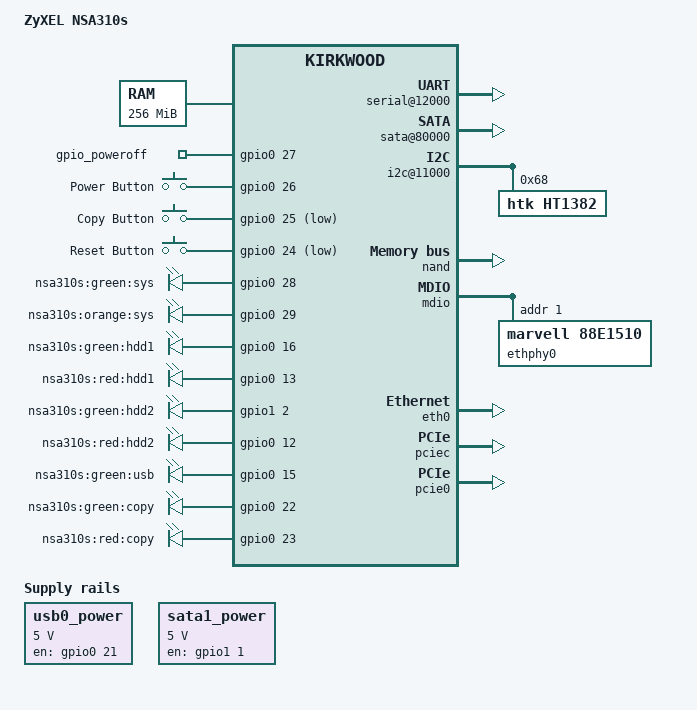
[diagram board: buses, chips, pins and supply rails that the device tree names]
/* 
 * Based on Discussion at https://forum.openwrt.org/t/serial-install-problems-on-nsa310/37306
 * Copyright (c) 2020, bobafetthotmail/Alberto Bursi <alberto.bursi@outlook.it>
 *
 * Based on https://forum.doozan.com/read.php?2,12096
 * Copyright (c) 2015-2016, bodhi <mibodhi@gmail.com>
 *
 * Based on 
 * Copyright (c) 2014, Adam Baker <linux@baker-net.org.uk>
 *
 * This program is free software; you can redistribute it and/or
 * modify it under the terms of the GNU General Public License
 * as published by the Free Software Foundation; either version
 * 2 of the License, or (at your option) any later version.
 *
 * Based upon the board setup file created by Peter Schildmann 
 */

/dts-v1/;

#include "kirkwood.dtsi"
#include "kirkwood-6281.dtsi"

/ {
	model = "ZyXEL NSA310s";
	compatible = "zyxel,nsa310s", "zyxel,nsa310", "marvell,kirkwood-88f6281", "marvell,kirkwood";

	memory {
		device_type = "memory";
		reg = <0x00000000 0x10000000>;
	};

	chosen {
		bootargs = "console=ttyS0,115200";
		stdout-path = &uart0;
	};

	ocp@f1000000 {
		pinctrl: pin-controller@10000 {
			pinctrl-names = "default";

			pmx_sata0: pmx-sata0 {
				marvell,pins ; /* NA */
				marvell,function = "sata0";
			};

			pmx_sata1: pmx-sata1 {
				marvell,pins ; /* NA */
				marvell,function = "sata1";
			};

                        pmx_usb_power: pmx-usb-power {
                                marvell,pins = "mpp21"; /* OK */
                                marvell,function = "gpio";
                        };

                        pmx_pwr_off: pmx-pwr-off {
                                marvell,pins = "mpp27"; /* OK */
                                marvell,function = "gpio";
                        };

                        pmx_btn_reset: pmx-btn-reset {
                                marvell,pins = "mpp24"; /* OK */
                                marvell,function = "gpio";
                        };

                        pmx_btn_copy: pmx-btn-copy {
                                marvell,pins = "mpp25"; /* OK */
                                marvell,function = "gpio";
                        };

                        pmx_btn_power: pmx-btn-power {
                                marvell,pins = "mpp26"; /* OK */
                                marvell,function = "gpio";
                        };

			pmx_led_hdd2_green: pmx-led-hdd2-green {
				marvell,pins = "mpp34"; /* OK */
				marvell,function = "gpio";
			};

			pmx_led_hdd2_red: pmx-led-hdd2-red {
				marvell,pins = "mpp12"; /* OK */
				marvell,function = "gpio";
			};

			pmx_led_usb_green: pmx-led-usb-green {
				marvell,pins = "mpp15"; /* OK */
				marvell,function = "gpio";
			};

                        pmx_led_copy_green: pmx-led-copy-green {
                                marvell,pins = "mpp22"; /* OK */
                                marvell,function = "gpio";
                        };

                        pmx_led_copy_red: pmx-led-copy-red {
                                marvell,pins = "mpp23"; /* OK */
                                marvell,function = "gpio";
                        };

			pmx_led_sys_green: pmx-led-sys-green {
				marvell,pins = "mpp28"; /* OK */
				marvell,function = "gpio";
			};

			pmx_led_sys_orange: pmx-led-sys-orange {
				marvell,pins = "mpp29"; /* OK */
				marvell,function = "gpio";
			};

			pmx_led_hdd1_green: pmx-led-hdd1-green {
				marvell,pins = "mpp16"; /* OK */
				marvell,function = "gpio";
			};

			pmx_led_hdd1_red: pmx-led-hdd1-red {
				marvell,pins = "mpp13"; /* OK */
				marvell,function = "gpio";
			};

/*
 			pmx_buzzer: pmx-buzzer {
 				marvell,pins = "mpp20";
 				marvell,function = "gpio";
 			};
*/

			pmx_pwr_sata1: pmx-pwr-sata1 {
				marvell,pins = "mpp33";
				marvell,function = "gpio";
			};
		};

                serial@12000 {
                        status = "ok";
                };

                sata@80000 {
                        status = "okay";
                        nr-ports = <2>;
                };

		rtc@10300 {
			status = "disabled";
		};

		i2c@11000 {
			status = "okay";
			ht1382: rtc@68 {
				compatible = "htk,ht1382";
				reg = <0x68>;
			};
		};
	};

	regulators {
                compatible = "simple-bus";
                #address-cells = <1>;
                #size-cells = <0>;
                pinctrl-names = "default";
		pinctrl-0 = <&pmx_usb_power &pmx_pwr_sata1>;

                usb0_power: regulator@1 {
                        compatible = "regulator-fixed";
                        reg = <1>;
                        regulator-name = "USB Power";
                        regulator-min-microvolt = <5000000>;
                        regulator-max-microvolt = <5000000>;
                        regulator-always-on;
                        regulator-boot-on;
			enable-active-high;
                        gpio = <&gpio0 21 GPIO_ACTIVE_HIGH>;
                };

		sata1_power: regulator@2 {
			compatible = "regulator-fixed";
			reg = <2>;
			regulator-name = "SATA1 Power";
			regulator-min-microvolt = <5000000>;
			regulator-max-microvolt = <5000000>;
			regulator-always-on;
			regulator-boot-on;
			enable-active-high;
			gpio = <&gpio1 1 GPIO_ACTIVE_HIGH>;
		};
	};

        gpio_poweroff {
                compatible = "gpio-poweroff";
                pinctrl-0 = <&pmx_pwr_off>;
                pinctrl-names = "default";
                gpios = <&gpio0 27 GPIO_ACTIVE_HIGH>;
        };

        gpio_keys {
                compatible = "gpio-keys";
                #address-cells = <1>;
                #size-cells = <0>;
                pinctrl-0 = <&pmx_btn_reset &pmx_btn_copy &pmx_btn_power>;
                pinctrl-names = "default";

                button@1 {
                        label = "Power Button";
                        linux,code = <KEY_POWER>;
                        gpios = <&gpio0 26 GPIO_ACTIVE_HIGH>;
                };
                button@2 {
                        label = "Copy Button";
                        linux,code = <KEY_COPY>;
                        gpios = <&gpio0 25 GPIO_ACTIVE_LOW>;
                };
                button@3 {
                        label = "Reset Button";
                        linux,code = <KEY_RESTART>;
                        gpios = <&gpio0 24 GPIO_ACTIVE_LOW>;
                };
        };

	gpio-leds {
		compatible = "gpio-leds";
		pinctrl-0 = <&pmx_led_hdd2_green &pmx_led_hdd2_red
			     &pmx_led_usb_green
			     &pmx_led_sys_green &pmx_led_sys_orange
			     &pmx_led_copy_green &pmx_led_copy_red
			     &pmx_led_hdd1_green &pmx_led_hdd1_red>;
		pinctrl-names = "default";

		green-sys {
			label = "nsa310s:green:sys";
			gpios = <&gpio0 28 GPIO_ACTIVE_HIGH>;
                        linux,default-trigger = "default-on";
		};
		orange-sys {
			label = "nsa310s:orange:sys";
			gpios = <&gpio0 29 GPIO_ACTIVE_HIGH>;
		};
		green-hdd1 {
			label = "nsa310s:green:hdd1";
			gpios = <&gpio0 16 GPIO_ACTIVE_HIGH>;
		};
		red-hdd1 {
			label = "nsa310s:red:hdd1";
			gpios = <&gpio0 13 GPIO_ACTIVE_HIGH>;
		};
		green-hdd2 {
			label = "nsa310s:green:hdd2";
			gpios = <&gpio1 2 GPIO_ACTIVE_HIGH>;
		};
		red-hdd2 {
			label = "nsa310s:red:hdd2";
			gpios = <&gpio0 12 GPIO_ACTIVE_HIGH>;
		};
		green-usb {
			label = "nsa310s:green:usb";
			gpios = <&gpio0 15 GPIO_ACTIVE_HIGH>;
		};
		green-copy {
			label = "nsa310s:green:copy";
			gpios = <&gpio0 22 GPIO_ACTIVE_HIGH>;
			linux,default-trigger = "ide-disk";
		};
		red-copy {
			label = "nsa310s:red:copy";
			gpios = <&gpio0 23 GPIO_ACTIVE_HIGH>;
		};
	};
};

&nand {
        status = "okay";
        chip-delay = <35>;

        partition@0 {
                label = "uboot";
                reg = <0x00c0000 0x0080000>;
        };
	partition@140000 {
		label = "ubi";
		reg = <0x0140000 0x7ec0000>;
         };
};

&mdio {
	status = "okay";
	ethphy0: ethernet-phy@1 {
                compatible = "marvell,88e1510";
		reg = <1>;
	};
};

&eth0 {
	status = "okay";
	ethernet0-port@0 {
		phy-handle = <&ethphy0>;
	};
};

&pciec {
	status = "okay";
};

&pcie0 {
	status = "okay";
};

